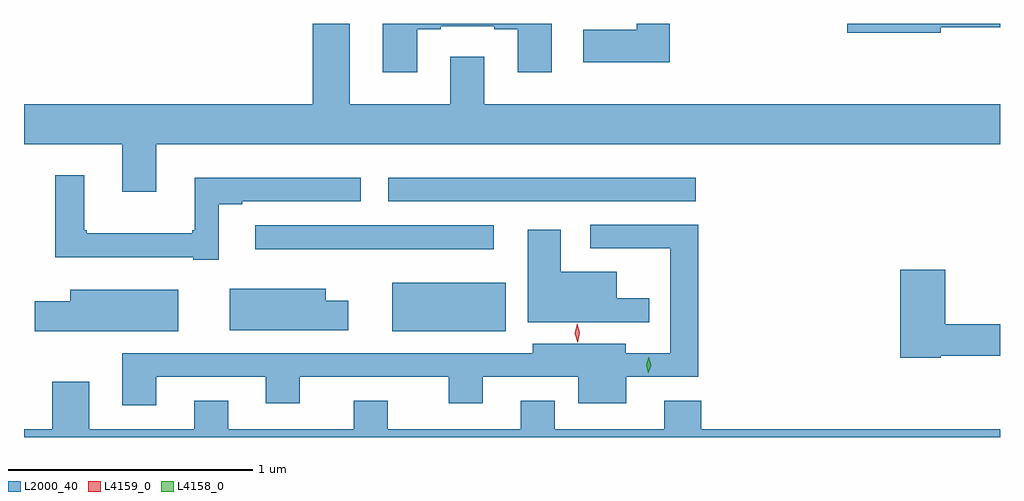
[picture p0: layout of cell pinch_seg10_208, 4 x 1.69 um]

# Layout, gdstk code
import gdstk
lib = gdstk.Library(unit=1e-6, precision=1e-09)
def R(c, l, rs):  # rectangles x0, y0, x1, y1
    for r in rs: c.add(gdstk.rectangle(r[:2], r[2:], *l))
def P(c, l, *ps):  # polygons
    for p in ps: c.add(gdstk.Polygon(p, *l))
L2000_40 = (2000, 40)
L4158_0 = (4158, 0)
L4159_0 = (4159, 0)

pinch_seg10_208 = lib.new_cell('pinch_seg10_208')
R(pinch_seg10_208, L2000_40, [(844.124,1248.935,844.588,1249.132), (843.561,1249.271,844.54,1249.368), (844.107,1249.467,845.368,1249.564)])
P(pinch_seg10_208, L2000_40, [(844.225,1250.172),(844.321,1250.172),(844.321,1250.184),(844.541,1250.184),(844.541,1250.172),(844.637,1250.172),(844.637,1249.995),(844.777,1249.995),(844.777,1250.194),(844.085,1250.194),(844.085,1249.995),(844.225,1249.995)],
  [(845.261,1250.194),(845.126,1250.194),(845.126,1250.17),(844.905,1250.17),(844.905,1250.036),(845.261,1250.036)],
  [(846.372,1250.181),(846.614,1250.181),(846.614,1250.194),(845.988,1250.194),(845.988,1250.158),(846.372,1250.158)],
  [(844.361,1250.059),(844.361,1249.864),(843.949,1249.864),(843.949,1250.194),(843.797,1250.194),(843.797,1249.864),(842.614,1249.864),(842.614,1249.7),(843.017,1249.7),(843.017,1249.506),(843.157,1249.506),(843.157,1249.7),(846.614,1249.7),(846.614,1249.864),(844.501,1249.864),(844.501,1250.059)],
  [(843.412,1249.455),(843.508,1249.455),(843.508,1249.467),(843.994,1249.467),(843.994,1249.564),(843.314,1249.564),(843.314,1249.348),(843.303,1249.348),(843.303,1249.336),(842.872,1249.336),(842.872,1249.348),(842.86,1249.348),(842.86,1249.573),(842.743,1249.573),(842.743,1249.238),(843.308,1249.238),(843.308,1249.227),(843.412,1249.227)],
  [(843.157,1248.747),(843.605,1248.747),(843.605,1248.638),(843.745,1248.638),(843.745,1248.747),(844.355,1248.747),(844.355,1248.638),(844.495,1248.638),(844.495,1248.747),(844.886,1248.747),(844.886,1248.638),(845.083,1248.638),(845.083,1248.747),(845.378,1248.747),(845.378,1249.371),(844.935,1249.371),(844.935,1249.275),(845.261,1249.275),(845.261,1249.274),(845.262,1249.274),(845.262,1248.843),(845.08,1248.843),(845.08,1248.883),(844.7,1248.883),(844.7,1248.843),(843.017,1248.843),(843.017,1248.63),(843.157,1248.63)],
  [(844.94,1248.972),(845.177,1248.972),(845.177,1249.07),(845.044,1249.07),(845.044,1249.177),(844.813,1249.177),(844.813,1249.351),(844.679,1249.351),(844.679,1248.971),(844.94,1248.971)],
  [(846.372,1248.834),(846.614,1248.834),(846.614,1248.962),(846.389,1248.962),(846.389,1249.186),(846.206,1249.186),(846.206,1248.826),(846.372,1248.826)],
  [(843.943,1249.06),(843.85,1249.06),(843.85,1249.108),(843.458,1249.108),(843.458,1248.938),(843.943,1248.938)],
  [(843.247,1249.105),(842.804,1249.105),(842.804,1249.057),(842.658,1249.057),(842.658,1248.935),(843.247,1248.935)],
  [(846.614,1248.532),(845.39,1248.532),(845.39,1248.649),(845.237,1248.649),(845.237,1248.532),(844.789,1248.532),(844.789,1248.649),(844.649,1248.649),(844.649,1248.532),(844.105,1248.532),(844.105,1248.649),(843.965,1248.649),(843.965,1248.532),(843.451,1248.532),(843.451,1248.649),(843.311,1248.649),(843.311,1248.532),(842.881,1248.532),(842.881,1248.727),(842.729,1248.727),(842.729,1248.532),(842.614,1248.532),(842.614,1248.5),(846.614,1248.5)])
P(pinch_seg10_208, L4158_0, [(845.172,1248.761),(845.172,1248.761),(845.164,1248.795),(845.175,1248.829),(845.175,1248.829),(845.175,1248.829),(845.184,1248.794),(845.172,1248.761)])
P(pinch_seg10_208, L4159_0, [(844.883,1248.887),(844.883,1248.887),(844.872,1248.926),(844.881,1248.965),(844.881,1248.966),(844.882,1248.965),(844.892,1248.927),(844.883,1248.887)])

lib.write_gds('pinch_seg10_208.gds')
